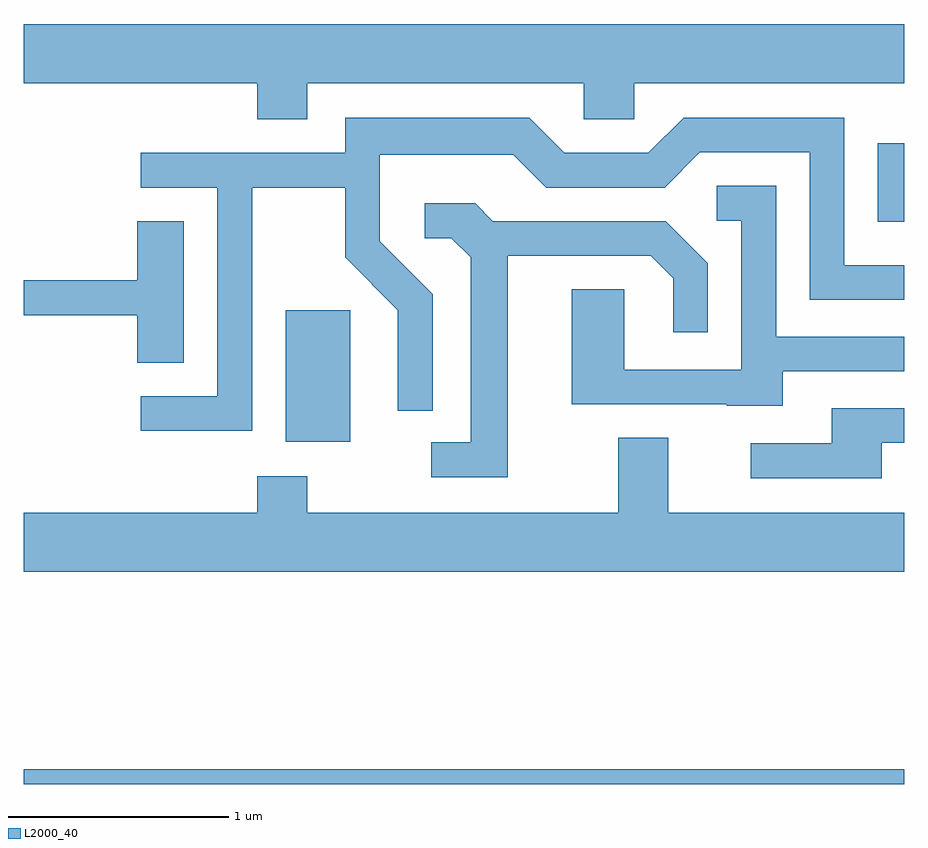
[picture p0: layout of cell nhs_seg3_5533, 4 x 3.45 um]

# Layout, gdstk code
import gdstk
lib = gdstk.Library(unit=1e-6, precision=1e-09)
def R(c, l, rs):  # rectangles x0, y0, x1, y1
    for r in rs: c.add(gdstk.rectangle(r[:2], r[2:], *l))
def P(c, l, *ps):  # polygons
    for p in ps: c.add(gdstk.Polygon(p, *l))
L2000_40 = (2000, 40)

nhs_seg3_5533 = lib.new_cell('nhs_seg3_5533')
R(nhs_seg3_5533, L2000_40, [(347.611,1173.892,351.611,1173.959), (348.801,1175.446,349.094,1176.044), (351.491,1176.446,351.611,1176.803)])
P(nhs_seg3_5533, L2000_40, [(348.899,1177.076),(350.156,1177.076),(350.156,1176.911),(350.384,1176.911),(350.384,1177.076),(351.611,1177.076),(351.611,1177.344),(347.611,1177.344),(347.611,1177.076),(348.671,1177.076),(348.671,1176.911),(348.899,1176.911)],
  [(348.649,1176.601),(349.071,1176.601),(349.071,1176.284),(349.311,1176.044),(349.311,1175.588),(349.469,1175.588),(349.469,1176.117),(349.229,1176.357),(349.229,1176.751),(349.834,1176.751),(349.984,1176.601),(350.522,1176.601),(350.682,1176.761),(351.181,1176.761),(351.181,1176.091),(351.611,1176.091),(351.611,1176.249),(351.339,1176.249),(351.339,1176.919),(350.609,1176.919),(350.449,1176.759),(350.067,1176.759),(349.907,1176.919),(349.071,1176.919),(349.071,1176.759),(348.143,1176.759),(348.143,1176.601),(348.491,1176.601),(348.491,1175.654),(348.143,1175.654),(348.143,1175.496),(348.649,1175.496)],
  [(351.059,1175.766),(351.611,1175.766),(351.611,1175.924),(351.029,1175.924),(351.029,1176.609),(350.758,1176.609),(350.758,1176.451),(350.871,1176.451),(350.871,1175.774),(350.339,1175.774),(350.339,1176.139),(350.101,1176.139),(350.101,1175.616),(350.805,1175.616),(350.805,1175.611),(351.059,1175.611)],
  [(349.809,1176.291),(350.459,1176.291),(350.561,1176.189),(350.561,1175.943),(350.719,1175.943),(350.719,1176.257),(350.527,1176.449),(349.742,1176.449),(349.662,1176.529),(349.433,1176.529),(349.433,1176.371),(349.554,1176.371),(349.641,1176.284),(349.641,1175.444),(349.463,1175.444),(349.463,1175.286),(349.809,1175.286)],
  [(348.339,1176.449),(348.126,1176.449),(348.126,1176.179),(347.611,1176.179),(347.611,1176.021),(348.126,1176.021),(348.126,1175.806),(348.339,1175.806)],
  [(351.509,1175.441),(351.611,1175.441),(351.611,1175.599),(351.281,1175.599),(351.281,1175.439),(350.913,1175.439),(350.913,1175.281),(351.509,1175.281)],
  [(351.611,1175.124),(350.539,1175.124),(350.539,1175.464),(350.311,1175.464),(350.311,1175.124),(348.899,1175.124),(348.899,1175.289),(348.671,1175.289),(348.671,1175.124),(347.611,1175.124),(347.611,1174.856),(351.611,1174.856)])

lib.write_gds('nhs_seg3_5533.gds')
